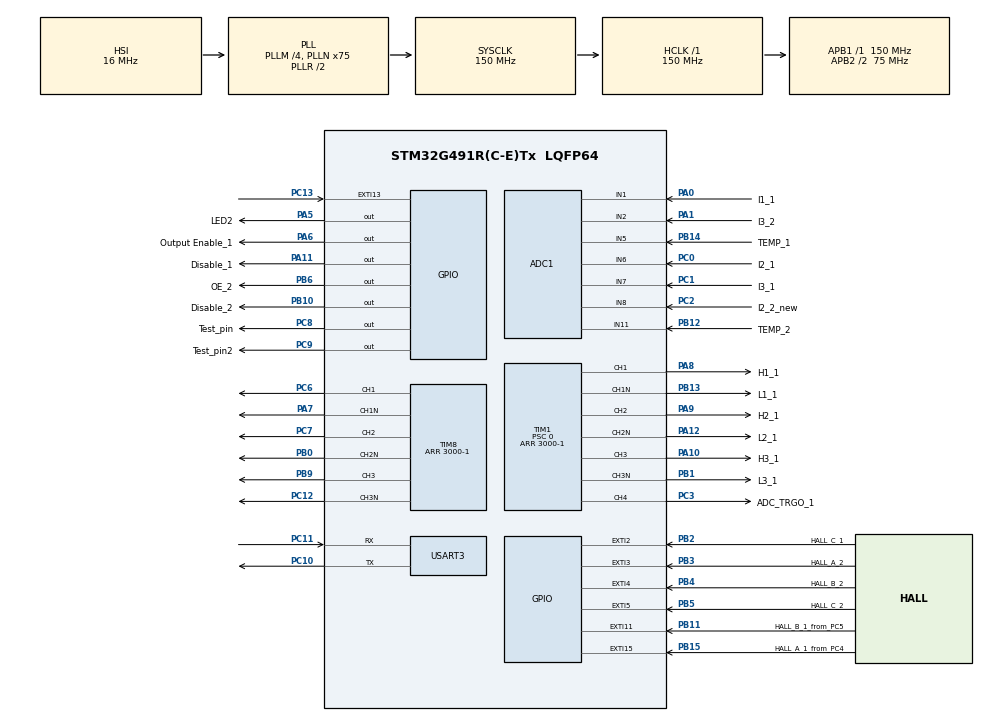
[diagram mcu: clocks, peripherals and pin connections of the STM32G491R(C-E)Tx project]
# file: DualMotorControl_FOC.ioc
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ADC1.DMAContinuousRequests=DISABLE
ADC1.EnableInjectedConversion=ENABLE
ADC1.EnableRegularConversion=DISABLE
ADC1.ExternalTrigInjecConv=ADC_EXTERNALTRIGINJEC_T1_TRGO2
ADC1.ExternalTrigInjecConvEdge=ADC_EXTERNALTRIGINJECCONV_EDGE_FALLING
ADC1.InjNumberOfConversion=4
ADC1.InjectedChannel-1\#ChannelInjectedConversion=ADC_CHANNEL_8
ADC1.InjectedChannel-2\#ChannelInjectedConversion=ADC_CHANNEL_2
ADC1.InjectedChannel-3\#ChannelInjectedConversion=ADC_CHANNEL_1
ADC1.InjectedChannel-4\#ChannelInjectedConversion=ADC_CHANNEL_6
ADC1.InjectedOffsetNumber-1\#ChannelInjectedConversion=ADC_OFFSET_NONE
ADC1.InjectedOffsetNumber-2\#ChannelInjectedConversion=ADC_OFFSET_NONE
ADC1.InjectedOffsetNumber-3\#ChannelInjectedConversion=ADC_OFFSET_NONE
ADC1.InjectedOffsetNumber-4\#ChannelInjectedConversion=ADC_OFFSET_NONE
ADC1.InjectedRank-1\#ChannelInjectedConversion=1
ADC1.InjectedRank-2\#ChannelInjectedConversion=2
ADC1.InjectedRank-3\#ChannelInjectedConversion=3
ADC1.InjectedRank-4\#ChannelInjectedConversion=4
ADC1.InjectedSamplingTime-1\#ChannelInjectedConversion=ADC_SAMPLETIME_24CYCLES_5
ADC1.InjectedSamplingTime-2\#ChannelInjectedConversion=ADC_SAMPLETIME_24CYCLES_5
ADC1.InjectedSamplingTime-3\#ChannelInjectedConversion=ADC_SAMPLETIME_24CYCLES_5
ADC1.InjectedSamplingTime-4\#ChannelInjectedConversion=ADC_SAMPLETIME_24CYCLES_5
ADC1.Rank1_Channel=ADC_CHANNEL_8
ADC1.master=1
Dma.ADC1.0.Direction=DMA_PERIPH_TO_MEMORY
Dma.ADC1.0.EventEnable=DISABLE
Dma.ADC1.0.Instance=DMA1_Channel1
Dma.ADC1.0.MemDataAlignment=DMA_MDATAALIGN_HALFWORD
Dma.ADC1.0.MemInc=DMA_MINC_ENABLE
Dma.ADC1.0.Mode=DMA_NORMAL
Dma.ADC1.0.PeriphDataAlignment=DMA_PDATAALIGN_HALFWORD
Dma.ADC1.0.PeriphInc=DMA_PINC_DISABLE
Dma.ADC1.0.Polarity=HAL_DMAMUX_REQ_GEN_RISING
Dma.ADC1.0.Priority=DMA_PRIORITY_LOW
Dma.ADC1.0.RequestNumber=1
Dma.ADC1.0.SignalID=NONE
Dma.ADC1.0.SyncEnable=DISABLE
Dma.ADC1.0.SyncPolarity=HAL_DMAMUX_SYNC_NO_EVENT
Dma.ADC1.0.SyncRequestNumber=1
Dma.ADC1.0.SyncSignalID=NONE
Dma.CORDIC_READ.2.Direction=DMA_PERIPH_TO_MEMORY
Dma.CORDIC_READ.2.EventEnable=DISABLE
Dma.CORDIC_READ.2.Instance=DMA1_Channel3
Dma.CORDIC_READ.2.MemDataAlignment=DMA_MDATAALIGN_WORD
Dma.CORDIC_READ.2.MemInc=DMA_MINC_ENABLE
Dma.CORDIC_READ.2.Mode=DMA_NORMAL
Dma.CORDIC_READ.2.PeriphDataAlignment=DMA_PDATAALIGN_WORD
Dma.CORDIC_READ.2.PeriphInc=DMA_PINC_DISABLE
Dma.CORDIC_READ.2.Polarity=HAL_DMAMUX_REQ_GEN_RISING
Dma.CORDIC_READ.2.Priority=DMA_PRIORITY_LOW
Dma.CORDIC_READ.2.RequestNumber=1
Dma.CORDIC_READ.2.SignalID=NONE
Dma.CORDIC_READ.2.SyncEnable=DISABLE
Dma.CORDIC_READ.2.SyncPolarity=HAL_DMAMUX_SYNC_NO_EVENT
Dma.CORDIC_READ.2.SyncRequestNumber=1
Dma.CORDIC_READ.2.SyncSignalID=NONE
Dma.CORDIC_WRITE.1.Direction=DMA_MEMORY_TO_PERIPH
Dma.CORDIC_WRITE.1.EventEnable=DISABLE
Dma.CORDIC_WRITE.1.Instance=DMA1_Channel2
Dma.CORDIC_WRITE.1.MemDataAlignment=DMA_MDATAALIGN_WORD
Dma.CORDIC_WRITE.1.MemInc=DMA_MINC_ENABLE
Dma.CORDIC_WRITE.1.Mode=DMA_NORMAL
Dma.CORDIC_WRITE.1.PeriphDataAlignment=DMA_PDATAALIGN_WORD
Dma.CORDIC_WRITE.1.PeriphInc=DMA_PINC_DISABLE
Dma.CORDIC_WRITE.1.Polarity=HAL_DMAMUX_REQ_GEN_RISING
Dma.CORDIC_WRITE.1.Priority=DMA_PRIORITY_LOW
Dma.CORDIC_WRITE.1.RequestNumber=1
Dma.CORDIC_WRITE.1.SignalID=NONE
Dma.CORDIC_WRITE.1.SyncEnable=DISABLE
Dma.CORDIC_WRITE.1.SyncPolarity=HAL_DMAMUX_SYNC_NO_EVENT
Dma.CORDIC_WRITE.1.SyncRequestNumber=1
Dma.CORDIC_WRITE.1.SyncSignalID=NONE
Dma.Request0=ADC1
Dma.Request1=CORDIC_WRITE
Dma.Request2=CORDIC_READ
Mcu.Family=STM32G4
Mcu.Name=STM32G491R(C-E)Tx
Mcu.Package=LQFP64
NVIC.ADC1_2_IRQn=true\:3\:0\:true\:false\:true\:true\:true\:true
NVIC.DMA1_Channel1_IRQn=true\:0\:0\:false\:false\:true\:false\:true\:true
NVIC.DMA1_Channel2_IRQn=true\:0\:0\:false\:false\:true\:false\:true\:true
NVIC.DMA1_Channel3_IRQn=true\:0\:0\:false\:false\:true\:false\:true\:true
NVIC.EXTI15_10_IRQn=true\:2\:0\:true\:false\:true\:true\:true\:true
NVIC.EXTI2_IRQn=true\:2\:0\:true\:false\:true\:true\:true\:true
NVIC.EXTI3_IRQn=true\:2\:0\:true\:false\:true\:true\:true\:true
NVIC.EXTI4_IRQn=true\:2\:0\:true\:false\:true\:true\:true\:true
NVIC.EXTI9_5_IRQn=true\:2\:0\:true\:false\:true\:true\:true\:true
NVIC.PriorityGroup=NVIC_PRIORITYGROUP_4
NVIC.TIM1_UP_TIM16_IRQn=true\:1\:0\:true\:false\:true\:true\:true\:true
PA0.GPIO_Label=I1_1
PA0.Mode=IN1-Single-Ended
PA0.Signal=ADC1_IN1
PA1.GPIO_Label=I3_2
PA1.Mode=IN2-Single-Ended
PA1.Signal=ADC1_IN2
PA10.GPIO_Label=H3_1
PA10.Signal=S_TIM1_CH3
PA11.GPIO_Label=Disable_1
PA11.Signal=GPIO_Output
PA12.GPIO_Label=L2_1
PA12.Mode=PWM Generation2 CH2 CH2N
PA12.Signal=TIM1_CH2N
PA5.GPIO_Label=LED2
PA5.Signal=GPIO_Output
PA6.GPIO_Label=Output Enable_1
PA6.Signal=GPIO_Output
PA7.GPIO_ModeDefaultPP=GPIO_MODE_AF_PP
PA7.GPIO_PuPd=GPIO_NOPULL
PA7.GPIO_Speed=GPIO_SPEED_FREQ_LOW
PA7.Mode=PWM Generation1 CH1 CH1N
PA7.Signal=TIM8_CH1N
PA8.GPIO_Label=H1_1
PA8.Signal=S_TIM1_CH1
PA9.GPIO_Label=H2_1
PA9.Signal=S_TIM1_CH2
PB0.GPIO_ModeDefaultPP=GPIO_MODE_AF_PP
PB0.GPIO_PuPd=GPIO_NOPULL
PB0.GPIO_Speed=GPIO_SPEED_FREQ_LOW
PB0.Mode=PWM Generation2 CH2 CH2N
PB0.Signal=TIM8_CH2N
PB1.GPIO_Label=L3_1
PB1.Mode=PWM Generation3 CH3 CH3N
PB1.Signal=TIM1_CH3N
PB10.GPIO_Label=Disable_2
PB10.Signal=GPIO_Output
PB11.GPIO_Label=HALL_B_1_from_PC5
PB11.GPIO_ModeDefaultEXTI=GPIO_MODE_IT_RISING_FALLING
PB11.Signal=GPXTI11
PB12.GPIO_Label=TEMP_2
PB12.Mode=IN11-Single-Ended
PB12.Signal=ADC1_IN11
PB13.GPIO_Label=L1_1
PB13.Mode=PWM Generation1 CH1 CH1N
PB13.Signal=TIM1_CH1N
PB14.GPIO_Label=TEMP_1
PB14.Mode=IN5-Single-Ended
PB14.Signal=ADC1_IN5
PB15.GPIO_Label=HALL_A_1_from_PC4
PB15.GPIO_ModeDefaultEXTI=GPIO_MODE_IT_RISING_FALLING
PB15.Signal=GPXTI15
PB2.GPIO_Label=HALL_C_1
PB2.GPIO_ModeDefaultEXTI=GPIO_MODE_IT_RISING_FALLING
PB2.Signal=GPXTI2
PB3.GPIO_Label=HALL_A_2
PB3.GPIO_ModeDefaultEXTI=GPIO_MODE_IT_RISING_FALLING
PB3.Signal=GPXTI3
PB4.GPIO_Label=HALL_B_2
PB4.GPIO_ModeDefaultEXTI=GPIO_MODE_IT_RISING_FALLING
PB4.Signal=GPXTI4
PB5.GPIO_Label=HALL_C_2
PB5.GPIO_ModeDefaultEXTI=GPIO_MODE_IT_RISING_FALLING
PB5.Signal=GPXTI5
PB6.GPIO_Label=OE_2
PB6.Signal=GPIO_Output
PB9.GPIO_FM9=__NULL
PB9.GPIO_ModeDefaultPP=GPIO_MODE_AF_PP
PB9.GPIO_PuPd=GPIO_NOPULL
PB9.GPIO_Speed=GPIO_SPEED_FREQ_LOW
PB9.Signal=S_TIM8_CH3
PC0.GPIO_Label=I2_1
PC0.Mode=IN6-Single-Ended
PC0.Signal=ADC1_IN6
PC1.GPIO_Label=I3_1
PC1.Mode=IN7-Single-Ended
PC1.Signal=ADC1_IN7
PC10.Mode=Asynchronous
PC10.Signal=USART3_TX
PC11.Mode=Asynchronous
PC11.Signal=USART3_RX
PC12.GPIO_ModeDefaultPP=GPIO_MODE_AF_PP
PC12.GPIO_PuPd=GPIO_NOPULL
PC12.GPIO_Speed=GPIO_SPEED_FREQ_LOW
PC12.Mode=PWM Generation3 CH3 CH3N
PC12.Signal=TIM8_CH3N
PC13.GPIO_PuPd=GPIO_PULLDOWN
PC13.Signal=GPXTI13
PC14-OSC32_IN.Mode=LSE-External-Oscillator
PC14-OSC32_IN.Signal=RCC_OSC32_IN
PC15-OSC32_OUT.Mode=LSE-External-Oscillator
PC15-OSC32_OUT.Signal=RCC_OSC32_OUT
PC2.GPIO_Label=I2_2_new
PC2.Mode=IN8-Single-Ended
PC2.Signal=ADC1_IN8
PC3.GPIO_Label=ADC_TRGO_1
PC3.Signal=S_TIM1_CH4
PC6.GPIO_ModeDefaultPP=GPIO_MODE_AF_PP
PC6.GPIO_PuPd=GPIO_NOPULL
PC6.GPIO_Speed=GPIO_SPEED_FREQ_LOW
PC6.Signal=S_TIM8_CH1
PC7.GPIO_ModeDefaultPP=GPIO_MODE_AF_PP
PC7.GPIO_PuPd=GPIO_NOPULL
PC7.GPIO_Speed=GPIO_SPEED_FREQ_LOW
PC7.Signal=S_TIM8_CH2
PC8.GPIO_Label=Test_pin
PC8.GPIO_Speed=GPIO_SPEED_FREQ_LOW
PC8.Signal=GPIO_Output
PC9.GPIO_Label=Test_pin2
PC9.Signal=GPIO_Output
PF0-OSC_IN.Mode=HSE-External-Oscillator
PF0-OSC_IN.Signal=RCC_OSC_IN
PF1-OSC_OUT.Mode=HSE-External-Oscillator
PF1-OSC_OUT.Signal=RCC_OSC_OUT
ProjectManager.HeapSize=0x200
ProjectManager.StackSize=0x400
ProjectManager.TargetToolchain=STM32CubeIDE
RCC.ADC12Freq_Value=150000000
RCC.ADC345Freq_Value=150000000
RCC.AHBFreq_Value=150000000
RCC.APB1Freq_Value=150000000
RCC.APB1TimFreq_Value=150000000
RCC.APB2CLKDivider=RCC_HCLK_DIV2
RCC.APB2Freq_Value=75000000
RCC.APB2TimFreq_Value=150000000
RCC.CortexFreq_Value=150000000
RCC.EXTERNAL_CLOCK_VALUE=12288000
RCC.HCLKFreq_Value=150000000
RCC.HSE_VALUE=8000000
RCC.HSI48_VALUE=48000000
RCC.HSI_VALUE=16000000
RCC.PLLM=RCC_PLLM_DIV4
RCC.PLLN=75
RCC.SYSCLKFreq_VALUE=150000000
RCC.SYSCLKSource=RCC_SYSCLKSOURCE_PLLCLK
RCC.USBFreq_Value=48000000
RCC.VCOOutputFreq_Value=300000000
SH.S_TIM1_CH1.0=TIM1_CH1,PWM Generation1 CH1 CH1N
SH.S_TIM1_CH2.0=TIM1_CH2,PWM Generation2 CH2 CH2N
SH.S_TIM1_CH3.0=TIM1_CH3,PWM Generation3 CH3 CH3N
SH.S_TIM1_CH4.0=TIM1_CH4,PWM Generation4 CH4
SH.S_TIM8_CH1.0=TIM8_CH1,PWM Generation1 CH1 CH1N
SH.S_TIM8_CH2.0=TIM8_CH2,PWM Generation2 CH2 CH2N
SH.S_TIM8_CH3.0=TIM8_CH3,PWM Generation3 CH3 CH3N
SYS.TrimmingMode=__NULL
SYS.VoltageScaling=SYSCFG_VREFBUF_VOLTAGE_SCALE2
TIM1.AutoReloadPreload=TIM_AUTORELOAD_PRELOAD_ENABLE
TIM1.Channel-PWM\ Generation1\ CH1\ CH1N=TIM_CHANNEL_1
TIM1.Channel-PWM\ Generation2\ CH2\ CH2N=TIM_CHANNEL_2
TIM1.Channel-PWM\ Generation3\ CH3\ CH3N=TIM_CHANNEL_3
TIM1.Channel-PWM\ Generation4\ CH4=TIM_CHANNEL_4
TIM1.CounterMode=TIM_COUNTERMODE_CENTERALIGNED3
TIM1.DeadTime=100
TIM1.OCMode_PWM-PWM\ Generation1\ CH1\ CH1N=TIM_OCMODE_PWM2
TIM1.OCMode_PWM-PWM\ Generation2\ CH2\ CH2N=TIM_OCMODE_PWM2
TIM1.OCMode_PWM-PWM\ Generation3\ CH3\ CH3N=TIM_OCMODE_PWM2
TIM1.OCMode_PWM-PWM\ Generation4\ CH4=TIM_OCMODE_PWM2
TIM1.PeriodNoDither=3000-1
TIM1.Prescaler=0
TIM1.PulseNoDither_1=0
TIM1.PulseNoDither_2=0
TIM1.PulseNoDither_3=0
TIM1.TIM_MasterOutputTrigger=TIM_TRGO_ENABLE
TIM1.TIM_MasterOutputTrigger2=TIM_TRGO2_OC4REF_RISINGFALLING
TIM1.TIM_MasterSlaveMode=TIM_MASTERSLAVEMODE_ENABLE
TIM8.AutoReloadPreload=TIM_AUTORELOAD_PRELOAD_ENABLE
TIM8.Channel-PWM\ Generation1\ CH1\ CH1N=TIM_CHANNEL_1
TIM8.Channel-PWM\ Generation2\ CH2\ CH2N=TIM_CHANNEL_2
TIM8.Channel-PWM\ Generation3\ CH3\ CH3N=TIM_CHANNEL_3
TIM8.CounterMode=TIM_COUNTERMODE_CENTERALIGNED3
TIM8.DeadTime=100
TIM8.OCMode_PWM-PWM\ Generation1\ CH1\ CH1N=TIM_OCMODE_PWM2
TIM8.OCMode_PWM-PWM\ Generation2\ CH2\ CH2N=TIM_OCMODE_PWM2
TIM8.OCMode_PWM-PWM\ Generation3\ CH3\ CH3N=TIM_OCMODE_PWM2
TIM8.PeriodNoDither=3000-1
TIM8.TIM_MasterSlaveMode=TIM_MASTERSLAVEMODE_DISABLE
USART3.VirtualMode-Asynchronous=VM_ASYNC
VP_CORDIC_VS_CORDIC.Mode=CORDIC_Activate
VP_SYS_VS_DBSignals.Mode=DisableDeadBatterySignals
VP_TIM1_VS_ClockSourceINT.Mode=Internal
VP_TIM8_VS_ClockSourceINT.Mode=Internal
VP_TIM8_VS_ClockSourceITR.Mode=TriggerSource_ITR0
VP_TIM8_VS_ControllerModeTrigger.Mode=Trigger Mode
VREF+.Mode=InternalMode
VREF+.Signal=VREFBUF_OUT
board=custom

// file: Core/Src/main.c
/* USER CODE BEGIN Header */
/**
  ******************************************************************************
  * @file           : main.c
  * @brief          : Main program body
  ******************************************************************************
  * @attention
  *
  * Copyright (c) 2026 STMicroelectronics.
  * All rights reserved.
  *
  * This software is licensed under terms that can be found in the LICENSE file
  * in the root directory of this software component.
  * If no LICENSE file comes with this software, it is provided AS-IS.
  *
  ******************************************************************************
  */
/* USER CODE END Header */
#include "main.h"

/* USER CODE BEGIN Includes */
#include "cordic.h"
#include "gpio.h"
#include "pi_reg.h"
#include "pwm.h"
#include "kalman.h"
#include <math.h>
#include <stdio.h>
#include <stdlib.h>
#include <string.h>
/* USER CODE END Includes */

ADC_HandleTypeDef hadc1;
DMA_HandleTypeDef hdma_adc1;

CORDIC_HandleTypeDef hcordic;
DMA_HandleTypeDef hdma_cordic_write;
DMA_HandleTypeDef hdma_cordic_read;

TIM_HandleTypeDef htim1;
TIM_HandleTypeDef htim8;

UART_HandleTypeDef huart3;

void SystemClock_Config(void);
static void MX_GPIO_Init(void);
static void MX_DMA_Init(void);
static void MX_ADC1_Init(void);
static void MX_TIM1_Init(void);
static void MX_CORDIC_Init(void);
static void MX_TIM8_Init(void);
static void MX_USART3_UART_Init(void);

int main(void)
{

  /* MCU Configuration--------------------------------------------------------*/

  /* Reset of all peripherals, Initializes the Flash interface and the Systick. */
  HAL_Init();

  /* Configure the system clock */
  SystemClock_Config();

  /* Initialize all configured peripherals */
  MX_GPIO_Init();
  MX_DMA_Init();
  MX_ADC1_Init();
  MX_TIM1_Init();
  MX_CORDIC_Init();
  MX_TIM8_Init();
  MX_USART3_UART_Init();
  /* USER CODE BEGIN 2 */

 /* startup order: gate drivers off, CORDIC/ADC, PWM + ADC trigger, FOC init, then calibrate */

 /* Set disable and enable output pins */
  HAL_GPIO_WritePin(GPIOA, GPIO_PIN_11, GPIO_PIN_SET);  // disable M1 PA11
  HAL_GPIO_WritePin(GPIOA, GPIO_PIN_6, GPIO_PIN_RESET); // enable M1 PA6

  HAL_GPIO_WritePin(GPIOB, GPIO_PIN_10, GPIO_PIN_SET);  // disable M2 PB10
  HAL_GPIO_WritePin(GPIOB, GPIO_PIN_6, GPIO_PIN_RESET); // enable M2 PB6

  // Initialize CORDIC sine module
  if (CORDIC_Init(&hcordic) != CORDIC_SIN_OK) {
	  return 0;
  }

  /*ADC calibration*/
  HAL_ADCEx_Calibration_Start(&hadc1, ADC_SINGLE_ENDED);

  /* Init pointers for PWM ISR */
  PWM_Init(&htim1, &htim8);

  /* M2 - first M2 because TIM8 is slave to TIM1 */
   /* CH1 & CH1N */
   HAL_TIM_PWM_Start(&htim8, TIM_CHANNEL_1);
   HAL_TIMEx_PWMN_Start(&htim8, TIM_CHANNEL_1);
   /* CH2 & CH2N */
   HAL_TIM_PWM_Start(&htim8, TIM_CHANNEL_2);
   HAL_TIMEx_PWMN_Start(&htim8, TIM_CHANNEL_2);
   /* CH3 & CH3N */
   HAL_TIM_PWM_Start(&htim8, TIM_CHANNEL_3);
   HAL_TIMEx_PWMN_Start(&htim8, TIM_CHANNEL_3);

 /* Starting all timers - CHx and CHxN channels */
 /* M1 */
  /* CH1 & CH1N */
  HAL_TIM_PWM_Start(&htim1, TIM_CHANNEL_1);
  HAL_TIMEx_PWMN_Start(&htim1, TIM_CHANNEL_1);
  /* CH2 & CH2N */
  HAL_TIM_PWM_Start(&htim1, TIM_CHANNEL_2);
  HAL_TIMEx_PWMN_Start(&htim1, TIM_CHANNEL_2);
  /* CH3 & CH3N */
  HAL_TIM_PWM_Start(&htim1, TIM_CHANNEL_3);
  HAL_TIMEx_PWMN_Start(&htim1, TIM_CHANNEL_3);

 /* CH4 is set as PWM and triggers TRGO for ADC on falling edge */
  HAL_TIM_PWM_Start(&htim1, TIM_CHANNEL_4);
  setCH4duty(&htim1, 100); // ADC triggered on falling edge so at the end of the period

 /* Set all PWMs to 0 % duty cycle */
  /* M1 */
  pwm_set_duty_percent(&htim1, TIM_CHANNEL_1, 0);
  pwm_set_duty_percent(&htim1, TIM_CHANNEL_2, 0);
  pwm_set_duty_percent(&htim1, TIM_CHANNEL_3, 0);
  /* M2 */
  pwm_set_duty_percent(&htim8, TIM_CHANNEL_1, 0);
  pwm_set_duty_percent(&htim8, TIM_CHANNEL_2, 0);
  pwm_set_duty_percent(&htim8, TIM_CHANNEL_3, 0);

 /* Init of ADC module -> init angle for Kalman filter is reading of the Hall sensors, rough estimation */
  float M1_theta_0 = read_theta_0(1u); // 1 for M1
  float M2_theta_0 = read_theta_0(2u); // 2 for M2
  ADC_FOC_Init(&hadc1, M1_theta_0, M2_theta_0);

  HAL_GPIO_WritePin(GPIOC, GPIO_PIN_8, GPIO_PIN_RESET); // for debugging purpose
  HAL_GPIO_WritePin(GPIOC, GPIO_PIN_9, GPIO_PIN_RESET); // for debugging purpose

  /* Used for debugging purposes to identify duration of interrupt */
  DWT_Init();

  /* Enable Interrupts on TIM1*/
  HAL_TIM_Base_Start_IT(&htim1);

  /* Calculate the offsets of ADC for each phase */
  ADC_StartCalibration2(); // 1 for M1
  HAL_Delay(1000);
  ADC_StartCalibration1(); // 2 for M2

  /* USER CODE END 2 */

  /* Infinite loop */
  /* USER CODE BEGIN WHILE */
  while (1)
  {
	// all the work runs in interrupts (PWM 20us, ADC 40us, Hall EXTI); main loop just idles
	if (log_done()) {
		//log_dump_uart(&huart3);
	}

    /* USER CODE END WHILE */

  }
}

void SystemClock_Config(void)
{
  RCC_OscInitTypeDef RCC_OscInitStruct = {0};
  RCC_ClkInitTypeDef RCC_ClkInitStruct = {0};

  /** Configure the main internal regulator output voltage
  */
  HAL_PWREx_ControlVoltageScaling(PWR_REGULATOR_VOLTAGE_SCALE1);

  /** Initializes the RCC Oscillators according to the specified parameters
  * in the RCC_OscInitTypeDef structure.
  */
  RCC_OscInitStruct.OscillatorType = RCC_OSCILLATORTYPE_HSI;
  RCC_OscInitStruct.HSIState = RCC_HSI_ON;
  RCC_OscInitStruct.HSICalibrationValue = RCC_HSICALIBRATION_DEFAULT;
  RCC_OscInitStruct.PLL.PLLState = RCC_PLL_ON;
  RCC_OscInitStruct.PLL.PLLSource = RCC_PLLSOURCE_HSI;
  RCC_OscInitStruct.PLL.PLLM = RCC_PLLM_DIV4;
  RCC_OscInitStruct.PLL.PLLN = 75;
  RCC_OscInitStruct.PLL.PLLP = RCC_PLLP_DIV2;
  RCC_OscInitStruct.PLL.PLLQ = RCC_PLLQ_DIV2;
  RCC_OscInitStruct.PLL.PLLR = RCC_PLLR_DIV2;
  if (HAL_RCC_OscConfig(&RCC_OscInitStruct) != HAL_OK)
  {
    Error_Handler();
  }

  /** Initializes the CPU, AHB and APB buses clocks
  */
  RCC_ClkInitStruct.ClockType = RCC_CLOCKTYPE_HCLK|RCC_CLOCKTYPE_SYSCLK
                              |RCC_CLOCKTYPE_PCLK1|RCC_CLOCKTYPE_PCLK2;
  RCC_ClkInitStruct.SYSCLKSource = RCC_SYSCLKSOURCE_PLLCLK;
  RCC_ClkInitStruct.AHBCLKDivider = RCC_SYSCLK_DIV1;
  RCC_ClkInitStruct.APB1CLKDivider = RCC_HCLK_DIV1;
  RCC_ClkInitStruct.APB2CLKDivider = RCC_HCLK_DIV2;

  if (HAL_RCC_ClockConfig(&RCC_ClkInitStruct, FLASH_LATENCY_4) != HAL_OK)
  {
    Error_Handler();
  }
}

static void MX_ADC1_Init(void)
{

  ADC_MultiModeTypeDef multimode = {0};
  ADC_InjectionConfTypeDef sConfigInjected = {0};

  /** Common config
  */
  hadc1.Instance = ADC1;
  hadc1.Init.ClockPrescaler = ADC_CLOCK_SYNC_PCLK_DIV4;
  hadc1.Init.Resolution = ADC_RESOLUTION_12B;
  hadc1.Init.DataAlign = ADC_DATAALIGN_RIGHT;
  hadc1.Init.GainCompensation = 0;
  hadc1.Init.ScanConvMode = ADC_SCAN_ENABLE;
  hadc1.Init.EOCSelection = ADC_EOC_SINGLE_CONV;
  hadc1.Init.LowPowerAutoWait = DISABLE;
  hadc1.Init.ContinuousConvMode = DISABLE;
  hadc1.Init.NbrOfConversion = 1;
  hadc1.Init.DiscontinuousConvMode = DISABLE;
  hadc1.Init.DMAContinuousRequests = DISABLE;
  hadc1.Init.Overrun = ADC_OVR_DATA_PRESERVED;
  hadc1.Init.OversamplingMode = DISABLE;
  if (HAL_ADC_Init(&hadc1) != HAL_OK)
  {
    Error_Handler();
  }

  /** Configure the ADC multi-mode
  */
  multimode.Mode = ADC_MODE_INDEPENDENT;
  if (HAL_ADCEx_MultiModeConfigChannel(&hadc1, &multimode) != HAL_OK)
  {
    Error_Handler();
  }

  /** Configure Injected Channel
  */
  sConfigInjected.InjectedChannel = ADC_CHANNEL_8;
  sConfigInjected.InjectedRank = ADC_INJECTED_RANK_1;
  sConfigInjected.InjectedSamplingTime = ADC_SAMPLETIME_24CYCLES_5;
  sConfigInjected.InjectedSingleDiff = ADC_SINGLE_ENDED;
  sConfigInjected.InjectedOffsetNumber = ADC_OFFSET_NONE;
  sConfigInjected.InjectedOffset = 0;
  sConfigInjected.InjectedNbrOfConversion = 4;
  sConfigInjected.InjectedDiscontinuousConvMode = DISABLE;
  sConfigInjected.AutoInjectedConv = DISABLE;
  sConfigInjected.QueueInjectedContext = DISABLE;
  sConfigInjected.ExternalTrigInjecConv = ADC_EXTERNALTRIGINJEC_T1_TRGO2;
  sConfigInjected.ExternalTrigInjecConvEdge = ADC_EXTERNALTRIGINJECCONV_EDGE_FALLING;
  sConfigInjected.InjecOversamplingMode = DISABLE;
  if (HAL_ADCEx_InjectedConfigChannel(&hadc1, &sConfigInjected) != HAL_OK)
  {
    Error_Handler();
  }

  /** Configure Injected Channel
  */
  sConfigInjected.InjectedChannel = ADC_CHANNEL_2;
  sConfigInjected.InjectedRank = ADC_INJECTED_RANK_2;
  if (HAL_ADCEx_InjectedConfigChannel(&hadc1, &sConfigInjected) != HAL_OK)
  {
    Error_Handler();
  }

  /** Configure Injected Channel
  */
  sConfigInjected.InjectedChannel = ADC_CHANNEL_1;
  sConfigInjected.InjectedRank = ADC_INJECTED_RANK_3;
  if (HAL_ADCEx_InjectedConfigChannel(&hadc1, &sConfigInjected) != HAL_OK)
  {
    Error_Handler();
  }

  /** Configure Injected Channel
  */
  sConfigInjected.InjectedChannel = ADC_CHANNEL_6;
  sConfigInjected.InjectedRank = ADC_INJECTED_RANK_4;
  if (HAL_ADCEx_InjectedConfigChannel(&hadc1, &sConfigInjected) != HAL_OK)
  {
    Error_Handler();
  }

}

static void MX_CORDIC_Init(void)
{

  /* USER CODE BEGIN CORDIC_Init 1 */
  CORDIC_ConfigTypeDef config = {0};
  config.Function = CORDIC_FUNCTION_SINE;
  config.Scale = CORDIC_SCALE_0;
  config.InSize = CORDIC_INSIZE_32BITS;
  config.OutSize = CORDIC_OUTSIZE_32BITS;
  config.NbWrite = CORDIC_NBWRITE_1;
  config.NbRead = CORDIC_NBREAD_2;
  config.Precision = CORDIC_PRECISION_6CYCLES; /* 6 cycles = good precision */
  /* USER CODE END CORDIC_Init 1 */
  hcordic.Instance = CORDIC;
  if (HAL_CORDIC_Init(&hcordic) != HAL_OK)
  {
    Error_Handler();
  }
  /* USER CODE BEGIN CORDIC_Init 2 */
  if (HAL_CORDIC_Configure(&hcordic, &config) != HAL_OK) {
	  Error_Handler();
  }
  /* USER CODE END CORDIC_Init 2 */

}

static void MX_TIM1_Init(void)
{

  TIM_ClockConfigTypeDef sClockSourceConfig = {0};
  TIM_MasterConfigTypeDef sMasterConfig = {0};
  TIM_OC_InitTypeDef sConfigOC = {0};
  TIM_BreakDeadTimeConfigTypeDef sBreakDeadTimeConfig = {0};

  htim1.Instance = TIM1;
  htim1.Init.Prescaler = 0;
  htim1.Init.CounterMode = TIM_COUNTERMODE_CENTERALIGNED3;
  htim1.Init.Period = 2999;
  htim1.Init.ClockDivision = TIM_CLOCKDIVISION_DIV1;
  htim1.Init.RepetitionCounter = 0;
  htim1.Init.AutoReloadPreload = TIM_AUTORELOAD_PRELOAD_ENABLE;
  if (HAL_TIM_Base_Init(&htim1) != HAL_OK)
  {
    Error_Handler();
  }
  sClockSourceConfig.ClockSource = TIM_CLOCKSOURCE_INTERNAL;
  if (HAL_TIM_ConfigClockSource(&htim1, &sClockSourceConfig) != HAL_OK)
  {
    Error_Handler();
  }
  if (HAL_TIM_PWM_Init(&htim1) != HAL_OK)
  {
    Error_Handler();
  }
  sMasterConfig.MasterOutputTrigger = TIM_TRGO_ENABLE;
  sMasterConfig.MasterOutputTrigger2 = TIM_TRGO2_OC4REF_RISINGFALLING;
  sMasterConfig.MasterSlaveMode = TIM_MASTERSLAVEMODE_ENABLE;
  if (HAL_TIMEx_MasterConfigSynchronization(&htim1, &sMasterConfig) != HAL_OK)
  {
    Error_Handler();
  }
  sConfigOC.OCMode = TIM_OCMODE_PWM2;
  sConfigOC.Pulse = 0;
  sConfigOC.OCPolarity = TIM_OCPOLARITY_HIGH;
  sConfigOC.OCNPolarity = TIM_OCNPOLARITY_HIGH;
  sConfigOC.OCFastMode = TIM_OCFAST_DISABLE;
  sConfigOC.OCIdleState = TIM_OCIDLESTATE_RESET;
  sConfigOC.OCNIdleState = TIM_OCNIDLESTATE_RESET;
  if (HAL_TIM_PWM_ConfigChannel(&htim1, &sConfigOC, TIM_CHANNEL_1) != HAL_OK)
  {
    Error_Handler();
  }
  if (HAL_TIM_PWM_ConfigChannel(&htim1, &sConfigOC, TIM_CHANNEL_2) != HAL_OK)
  {
    Error_Handler();
  }
  if (HAL_TIM_PWM_ConfigChannel(&htim1, &sConfigOC, TIM_CHANNEL_3) != HAL_OK)
  {
    Error_Handler();
  }
  if (HAL_TIM_PWM_ConfigChannel(&htim1, &sConfigOC, TIM_CHANNEL_4) != HAL_OK)
  {
    Error_Handler();
  }
  sBreakDeadTimeConfig.OffStateRunMode = TIM_OSSR_DISABLE;
  sBreakDeadTimeConfig.OffStateIDLEMode = TIM_OSSI_DISABLE;
  sBreakDeadTimeConfig.LockLevel = TIM_LOCKLEVEL_OFF;
  sBreakDeadTimeConfig.DeadTime = 100;
  sBreakDeadTimeConfig.BreakState = TIM_BREAK_DISABLE;
  sBreakDeadTimeConfig.BreakPolarity = TIM_BREAKPOLARITY_HIGH;
  sBreakDeadTimeConfig.BreakFilter = 0;
  sBreakDeadTimeConfig.BreakAFMode = TIM_BREAK_AFMODE_INPUT;
  sBreakDeadTimeConfig.Break2State = TIM_BREAK2_DISABLE;
  sBreakDeadTimeConfig.Break2Polarity = TIM_BREAK2POLARITY_HIGH;
  sBreakDeadTimeConfig.Break2Filter = 0;
  sBreakDeadTimeConfig.Break2AFMode = TIM_BREAK_AFMODE_INPUT;
  sBreakDeadTimeConfig.AutomaticOutput = TIM_AUTOMATICOUTPUT_DISABLE;
  if (HAL_TIMEx_ConfigBreakDeadTime(&htim1, &sBreakDeadTimeConfig) != HAL_OK)
  {
    Error_Handler();
  }
  HAL_TIM_MspPostInit(&htim1);

}

static void MX_TIM8_Init(void)
{

  TIM_ClockConfigTypeDef sClockSourceConfig = {0};
  TIM_SlaveConfigTypeDef sSlaveConfig = {0};
  TIM_MasterConfigTypeDef sMasterConfig = {0};
  TIM_OC_InitTypeDef sConfigOC = {0};
  TIM_BreakDeadTimeConfigTypeDef sBreakDeadTimeConfig = {0};

  htim8.Instance = TIM8;
  htim8.Init.Prescaler = 0;
  htim8.Init.CounterMode = TIM_COUNTERMODE_CENTERALIGNED3;
  htim8.Init.Period = 2999;
  htim8.Init.ClockDivision = TIM_CLOCKDIVISION_DIV1;
  htim8.Init.RepetitionCounter = 0;
  htim8.Init.AutoReloadPreload = TIM_AUTORELOAD_PRELOAD_ENABLE;
  if (HAL_TIM_Base_Init(&htim8) != HAL_OK)
  {
    Error_Handler();
  }
  sClockSourceConfig.ClockSource = TIM_CLOCKSOURCE_INTERNAL;
  if (HAL_TIM_ConfigClockSource(&htim8, &sClockSourceConfig) != HAL_OK)
  {
    Error_Handler();
  }
  if (HAL_TIM_PWM_Init(&htim8) != HAL_OK)
  {
    Error_Handler();
  }
  sSlaveConfig.SlaveMode = TIM_SLAVEMODE_TRIGGER;
  sSlaveConfig.InputTrigger = TIM_TS_ITR0;
  if (HAL_TIM_SlaveConfigSynchro(&htim8, &sSlaveConfig) != HAL_OK)
  {
    Error_Handler();
  }
  sMasterConfig.MasterOutputTrigger = TIM_TRGO_RESET;
  sMasterConfig.MasterOutputTrigger2 = TIM_TRGO2_RESET;
  sMasterConfig.MasterSlaveMode = TIM_MASTERSLAVEMODE_DISABLE;
  if (HAL_TIMEx_MasterConfigSynchronization(&htim8, &sMasterConfig) != HAL_OK)
  {
    Error_Handler();
  }
  sConfigOC.OCMode = TIM_OCMODE_PWM2;
  sConfigOC.Pulse = 0;
  sConfigOC.OCPolarity = TIM_OCPOLARITY_HIGH;
  sConfigOC.OCNPolarity = TIM_OCNPOLARITY_HIGH;
  sConfigOC.OCFastMode = TIM_OCFAST_DISABLE;
  sConfigOC.OCIdleState = TIM_OCIDLESTATE_RESET;
  sConfigOC.OCNIdleState = TIM_OCNIDLESTATE_RESET;
  if (HAL_TIM_PWM_ConfigChannel(&htim8, &sConfigOC, TIM_CHANNEL_1) != HAL_OK)
  {
    Error_Handler();
  }
  if (HAL_TIM_PWM_ConfigChannel(&htim8, &sConfigOC, TIM_CHANNEL_2) != HAL_OK)
  {
    Error_Handler();
  }
  if (HAL_TIM_PWM_ConfigChannel(&htim8, &sConfigOC, TIM_CHANNEL_3) != HAL_OK)
  {
    Error_Handler();
  }
  sBreakDeadTimeConfig.OffStateRunMode = TIM_OSSR_DISABLE;
  sBreakDeadTimeConfig.OffStateIDLEMode = TIM_OSSI_DISABLE;
  sBreakDeadTimeConfig.LockLevel = TIM_LOCKLEVEL_OFF;
  sBreakDeadTimeConfig.DeadTime = 100;
  sBreakDeadTimeConfig.BreakState = TIM_BREAK_DISABLE;
  sBreakDeadTimeConfig.BreakPolarity = TIM_BREAKPOLARITY_HIGH;
  sBreakDeadTimeConfig.BreakFilter = 0;
  sBreakDeadTimeConfig.BreakAFMode = TIM_BREAK_AFMODE_INPUT;
  sBreakDeadTimeConfig.Break2State = TIM_BREAK2_DISABLE;
  sBreakDeadTimeConfig.Break2Polarity = TIM_BREAK2POLARITY_HIGH;
  sBreakDeadTimeConfig.Break2Filter = 0;
  sBreakDeadTimeConfig.Break2AFMode = TIM_BREAK_AFMODE_INPUT;
  sBreakDeadTimeConfig.AutomaticOutput = TIM_AUTOMATICOUTPUT_DISABLE;
  if (HAL_TIMEx_ConfigBreakDeadTime(&htim8, &sBreakDeadTimeConfig) != HAL_OK)
  {
    Error_Handler();
  }
  HAL_TIM_MspPostInit(&htim8);

}

static void MX_USART3_UART_Init(void)
{

  huart3.Instance = USART3;
  huart3.Init.BaudRate = 115200;
  huart3.Init.WordLength = UART_WORDLENGTH_8B;
  huart3.Init.StopBits = UART_STOPBITS_1;
  huart3.Init.Parity = UART_PARITY_NONE;
  huart3.Init.Mode = UART_MODE_TX_RX;
  huart3.Init.HwFlowCtl = UART_HWCONTROL_NONE;
  huart3.Init.OverSampling = UART_OVERSAMPLING_16;
  huart3.Init.OneBitSampling = UART_ONE_BIT_SAMPLE_DISABLE;
  huart3.Init.ClockPrescaler = UART_PRESCALER_DIV1;
  huart3.AdvancedInit.AdvFeatureInit = UART_ADVFEATURE_NO_INIT;
  if (HAL_UART_Init(&huart3) != HAL_OK)
  {
    Error_Handler();
  }
  if (HAL_UARTEx_SetTxFifoThreshold(&huart3, UART_TXFIFO_THRESHOLD_1_8) != HAL_OK)
  {
    Error_Handler();
  }
  if (HAL_UARTEx_SetRxFifoThreshold(&huart3, UART_RXFIFO_THRESHOLD_1_8) != HAL_OK)
  {
    Error_Handler();
  }
  if (HAL_UARTEx_DisableFifoMode(&huart3) != HAL_OK)
  {
    Error_Handler();
  }

}

static void MX_DMA_Init(void)
{

  /* DMA controller clock enable */
  __HAL_RCC_DMAMUX1_CLK_ENABLE();
  __HAL_RCC_DMA1_CLK_ENABLE();

  /* DMA interrupt init */
  /* DMA1_Channel1_IRQn interrupt configuration */
  HAL_NVIC_SetPriority(DMA1_Channel1_IRQn, 0, 0);
  HAL_NVIC_EnableIRQ(DMA1_Channel1_IRQn);
  /* DMA1_Channel2_IRQn interrupt configuration */
  HAL_NVIC_SetPriority(DMA1_Channel2_IRQn, 0, 0);
  HAL_NVIC_EnableIRQ(DMA1_Channel2_IRQn);
  /* DMA1_Channel3_IRQn interrupt configuration */
  HAL_NVIC_SetPriority(DMA1_Channel3_IRQn, 0, 0);
  HAL_NVIC_EnableIRQ(DMA1_Channel3_IRQn);

}

static void MX_GPIO_Init(void)
{
  GPIO_InitTypeDef GPIO_InitStruct = {0};

  /* GPIO Ports Clock Enable */
  __HAL_RCC_GPIOC_CLK_ENABLE();
  __HAL_RCC_GPIOF_CLK_ENABLE();
  __HAL_RCC_GPIOA_CLK_ENABLE();
  __HAL_RCC_GPIOB_CLK_ENABLE();

  /*Configure GPIO pin Output Level */
  HAL_GPIO_WritePin(GPIOA, LED2_Pin|Output_Enable_1_Pin|Disable_1_Pin, GPIO_PIN_RESET);

  /*Configure GPIO pin Output Level */
  HAL_GPIO_WritePin(GPIOB, Disable_2_Pin|OE_2_Pin, GPIO_PIN_RESET);

  /*Configure GPIO pin Output Level */
  HAL_GPIO_WritePin(GPIOC, Test_pin_Pin|Test_pin2_Pin, GPIO_PIN_RESET);

  /*Configure GPIO pin : PC13 */
  GPIO_InitStruct.Pin = GPIO_PIN_13;
  GPIO_InitStruct.Mode = GPIO_MODE_IT_RISING;
  GPIO_InitStruct.Pull = GPIO_PULLDOWN;
  HAL_GPIO_Init(GPIOC, &GPIO_InitStruct);

  /*Configure GPIO pins : LED2_Pin Output_Enable_1_Pin Disable_1_Pin */
  GPIO_InitStruct.Pin = LED2_Pin|Output_Enable_1_Pin|Disable_1_Pin;
  GPIO_InitStruct.Mode = GPIO_MODE_OUTPUT_PP;
  GPIO_InitStruct.Pull = GPIO_NOPULL;
  GPIO_InitStruct.Speed = GPIO_SPEED_FREQ_LOW;
  HAL_GPIO_Init(GPIOA, &GPIO_InitStruct);

  /*Configure GPIO pins : HALL_C_1_Pin HALL_B_1_from_PC5_Pin HALL_A_1_from_PC4_Pin HALL_A_2_Pin
                           HALL_B_2_Pin HALL_C_2_Pin */
  GPIO_InitStruct.Pin = HALL_C_1_Pin|HALL_B_1_from_PC5_Pin|HALL_A_1_from_PC4_Pin|HALL_A_2_Pin
                          |HALL_B_2_Pin|HALL_C_2_Pin;
  GPIO_InitStruct.Mode = GPIO_MODE_IT_RISING_FALLING;
  GPIO_InitStruct.Pull = GPIO_NOPULL;
  HAL_GPIO_Init(GPIOB, &GPIO_InitStruct);

  /*Configure GPIO pins : Disable_2_Pin OE_2_Pin */
  GPIO_InitStruct.Pin = Disable_2_Pin|OE_2_Pin;
  GPIO_InitStruct.Mode = GPIO_MODE_OUTPUT_PP;
  GPIO_InitStruct.Pull = GPIO_NOPULL;
  GPIO_InitStruct.Speed = GPIO_SPEED_FREQ_LOW;
  HAL_GPIO_Init(GPIOB, &GPIO_InitStruct);

  /*Configure GPIO pins : Test_pin_Pin Test_pin2_Pin */
  GPIO_InitStruct.Pin = Test_pin_Pin|Test_pin2_Pin;
  GPIO_InitStruct.Mode = GPIO_MODE_OUTPUT_PP;
  GPIO_InitStruct.Pull = GPIO_NOPULL;
  GPIO_InitStruct.Speed = GPIO_SPEED_FREQ_LOW;
  HAL_GPIO_Init(GPIOC, &GPIO_InitStruct);

  /* EXTI interrupt init*/
  HAL_NVIC_SetPriority(EXTI2_IRQn, 2, 0);
  HAL_NVIC_EnableIRQ(EXTI2_IRQn);

  HAL_NVIC_SetPriority(EXTI3_IRQn, 2, 0);
  HAL_NVIC_EnableIRQ(EXTI3_IRQn);

  HAL_NVIC_SetPriority(EXTI4_IRQn, 2, 0);
  HAL_NVIC_EnableIRQ(EXTI4_IRQn);

  HAL_NVIC_SetPriority(EXTI9_5_IRQn, 2, 0);
  HAL_NVIC_EnableIRQ(EXTI9_5_IRQn);

  HAL_NVIC_SetPriority(EXTI15_10_IRQn, 2, 0);
  HAL_NVIC_EnableIRQ(EXTI15_10_IRQn);

}

void Error_Handler(void)
{
  __disable_irq();
  while (1)
  {
  }
}
